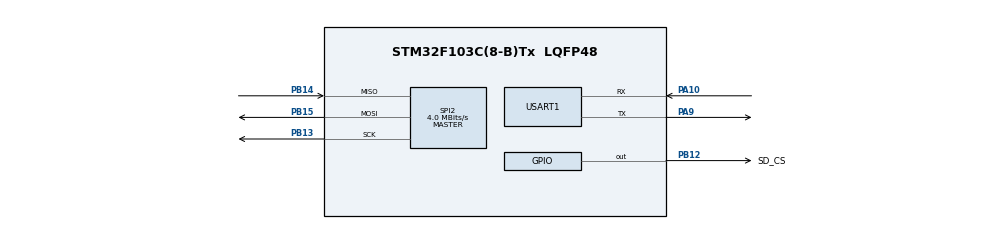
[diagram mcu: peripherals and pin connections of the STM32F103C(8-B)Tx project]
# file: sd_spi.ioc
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Mcu.Family=STM32F1
PC15-OSC32_OUT.Mode=LSE-External-Oscillator
PD1-OSC_OUT.Mode=HSE-External-Oscillator
PA10.Mode=Asynchronous
SPI2.VirtualType=VM_MASTER
PD0-OSC_IN.Signal=RCC_OSC_IN
PC14-OSC32_IN.Signal=RCC_OSC32_IN
PB15.Signal=SPI2_MOSI
PB13.Signal=SPI2_SCK
ProjectManager.StackSize=0x400
PD1-OSC_OUT.Signal=RCC_OSC_OUT
PA13.Signal=SYS_JTMS-SWDIO
PA9.Mode=Asynchronous
ProjectManager.TargetToolchain=STM32CubeIDE
PA9.Signal=USART1_TX
PC15-OSC32_OUT.Signal=RCC_OSC32_OUT
VP_FATFS_VS_Generic.Mode=User_defined
PD0-OSC_IN.Mode=HSE-External-Oscillator
PB14.Signal=SPI2_MISO
board=custom
PB15.Mode=Full_Duplex_Master
PB12.GPIO_Label=SD_CS
RCC.APB2Freq_Value=8000000
PC14-OSC32_IN.Mode=LSE-External-Oscillator
PA14.Mode=Serial_Wire
PB14.Mode=Full_Duplex_Master
SPI2.CalculateBaudRate=4.0 MBits/s
PA13.Mode=Serial_Wire
Mcu.Name=STM32F103C(8-B)Tx
Mcu.Package=LQFP48
SPI2.Mode=SPI_MODE_MASTER
USART1.VirtualMode=VM_ASYNC
PA10.Signal=USART1_RX
PA14.Signal=SYS_JTCK-SWCLK
ProjectManager.HeapSize=0x200
NVIC.PriorityGroup=NVIC_PRIORITYGROUP_4
SPI2.Direction=SPI_DIRECTION_2LINES
PB13.Mode=Full_Duplex_Master
RCC.APB1Freq_Value=8000000
PB12.Signal=GPIO_Output

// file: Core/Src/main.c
/* USER CODE BEGIN Header */
/**
 ******************************************************************************
 * @file           : main.c
 * @brief          : Main program body
 ******************************************************************************
 * @attention
 *
 * <h2><center>&copy; Copyright (c) 2021 STMicroelectronics.
 * All rights reserved.</center></h2>
 *
 * This software component is licensed by ST under BSD 3-Clause license,
 * the "License"; You may not use this file except in compliance with the
 * License. You may obtain a copy of the License at:
 *                        opensource.org/licenses/BSD-3-Clause
 *
 ******************************************************************************
 */
/* USER CODE END Header */
#include "main.h"
#include "fatfs.h"

/* USER CODE BEGIN Includes */
#include "fatfs_sd.h"
#include "stdio.h"
#include "string.h"
/* USER CODE END Includes */

/* USER CODE BEGIN PD */
#define BUF_SIZE 512
/* USER CODE END PD */

SPI_HandleTypeDef hspi2;

UART_HandleTypeDef huart1;

/* USER CODE BEGIN PV */

static uint8_t fatFsCounter = 10;

// Variable para el filesystem
FATFS fs;

// Variable para el archivo
FIL fil1;

// Variable para el resultado de las operaciones
FRESULT fresult;

// Buffer para manejo de texto del archivo
char buffer[BUF_SIZE];

// Número de bytes escritos y leídos.
uint32_t bytesRead, bytesWrite;

// Variables para chequear capacidad

FATFS *pfs;

uint32_t free_space, free_clust;
/* USER CODE END PV */

void SystemClock_Config(void);
static void MX_GPIO_Init(void);
static void MX_SPI2_Init(void);
static void MX_USART1_UART_Init(void);

/* USER CODE BEGIN 0 */
void HAL_IncTick(void)
{
	uwTick += uwTickFreq;
	--fatFsCounter;
	if(fatFsCounter == 0){
		SD_10ms_Tick_Handler();
	}
}

/** @brief Retarget printf() to UART1 */
int __io_putchar(int ch)
{
	HAL_UART_Transmit(&huart1, (uint8_t *)&ch, 1, 10);
	return ch;
}

/* USER CODE END 0 */

int main(void)
{

	/* MCU Configuration--------------------------------------------------------*/

	/* Reset of all peripherals, Initializes the Flash interface and the Systick. */
	HAL_Init();

	/* Configure the system clock */
	SystemClock_Config();

	/* Initialize all configured peripherals */
	MX_GPIO_Init();
	MX_SPI2_Init();
	MX_FATFS_Init();
	MX_USART1_UART_Init();
	/* USER CODE BEGIN 2 */

	/* Montado de SD */
	fresult = f_mount(&fs, "", 0);
	if (fresult != FR_OK){
		/*
		 * Si falla acá, no se pudo montar el filesystem.
		 * Chequear conexión de SD, alimentación, etc.
		 */
	}

	/* Obtener tamaño y espacio disponible en la SD */
	fresult = f_getfree("", &free_clust, &pfs);

	free_space = (uint32_t)(free_clust * pfs->csize * 0.5);
	printf("SD CARD Free Space: \t%lu\n", free_space);

	/* Crear archivo */

	fresult = f_open(&fil1, "testFile.txt", FA_OPEN_ALWAYS | FA_READ | FA_WRITE);

	fresult = f_puts("This is a test data written from stm32!!", &fil1);

	fresult = f_close(&fil1);

	/* Leer el archivo recién creado */

	printf("Reading file: testFile.txt\r\n");

	fresult = f_open(&fil1, "testFile.txt", FA_READ);
	f_gets(buffer, fil1.fsize, &fil1);

	printf("%s\r\n", buffer);

	f_close(&fil1);

	/* Listar los directorios del root de la SD */
	DIR dir;
	FILINFO fno;

	fresult = f_opendir(&dir, "");
	if (!fresult) {
		printf("Directory listing...\r\n");
		for (;; ) {
			/* Read a directory item */
			fresult = f_readdir(&dir, &fno);

			if (fresult || !fno.fname[0]) {
				break;					/* Error or end of dir */
			}

			if (fno.fattrib & AM_DIR) {
				printf("   <dir>  %s\r\n", fno.fname);
			}
			else {
				printf("   %8lu  %s\r\n", fno.fsize, fno.fname);
			}
		}
	}

	/* USER CODE END 2 */

	/* Infinite loop */
	while (1)
	{

		/* USER CODE BEGIN 3 */
		__WFI();
	}
	/* USER CODE END 3 */
}

void SystemClock_Config(void)
{
	RCC_OscInitTypeDef RCC_OscInitStruct = {0};
	RCC_ClkInitTypeDef RCC_ClkInitStruct = {0};

	/** Initializes the RCC Oscillators according to the specified parameters
	 * in the RCC_OscInitTypeDef structure.
	 */
	RCC_OscInitStruct.OscillatorType = RCC_OSCILLATORTYPE_HSI;
	RCC_OscInitStruct.HSIState = RCC_HSI_ON;
	RCC_OscInitStruct.HSICalibrationValue = RCC_HSICALIBRATION_DEFAULT;
	RCC_OscInitStruct.PLL.PLLState = RCC_PLL_NONE;
	if (HAL_RCC_OscConfig(&RCC_OscInitStruct) != HAL_OK)
	{
		Error_Handler();
	}
	/** Initializes the CPU, AHB and APB buses clocks
	 */
	RCC_ClkInitStruct.ClockType = RCC_CLOCKTYPE_HCLK|RCC_CLOCKTYPE_SYSCLK
			|RCC_CLOCKTYPE_PCLK1|RCC_CLOCKTYPE_PCLK2;
	RCC_ClkInitStruct.SYSCLKSource = RCC_SYSCLKSOURCE_HSI;
	RCC_ClkInitStruct.AHBCLKDivider = RCC_SYSCLK_DIV1;
	RCC_ClkInitStruct.APB1CLKDivider = RCC_HCLK_DIV1;
	RCC_ClkInitStruct.APB2CLKDivider = RCC_HCLK_DIV1;

	if (HAL_RCC_ClockConfig(&RCC_ClkInitStruct, FLASH_LATENCY_0) != HAL_OK)
	{
		Error_Handler();
	}
}

static void MX_SPI2_Init(void)
{

	/* SPI2 parameter configuration*/
	hspi2.Instance = SPI2;
	hspi2.Init.Mode = SPI_MODE_MASTER;
	hspi2.Init.Direction = SPI_DIRECTION_2LINES;
	hspi2.Init.DataSize = SPI_DATASIZE_8BIT;
	hspi2.Init.CLKPolarity = SPI_POLARITY_LOW;
	hspi2.Init.CLKPhase = SPI_PHASE_1EDGE;
	hspi2.Init.NSS = SPI_NSS_SOFT;
	hspi2.Init.BaudRatePrescaler = SPI_BAUDRATEPRESCALER_2;
	hspi2.Init.FirstBit = SPI_FIRSTBIT_MSB;
	hspi2.Init.TIMode = SPI_TIMODE_DISABLE;
	hspi2.Init.CRCCalculation = SPI_CRCCALCULATION_DISABLE;
	hspi2.Init.CRCPolynomial = 10;
	if (HAL_SPI_Init(&hspi2) != HAL_OK)
	{
		Error_Handler();
	}

}

static void MX_USART1_UART_Init(void)
{

	huart1.Instance = USART1;
	huart1.Init.BaudRate = 115200;
	huart1.Init.WordLength = UART_WORDLENGTH_8B;
	huart1.Init.StopBits = UART_STOPBITS_1;
	huart1.Init.Parity = UART_PARITY_NONE;
	huart1.Init.Mode = UART_MODE_TX_RX;
	huart1.Init.HwFlowCtl = UART_HWCONTROL_NONE;
	huart1.Init.OverSampling = UART_OVERSAMPLING_16;
	if (HAL_UART_Init(&huart1) != HAL_OK)
	{
		Error_Handler();
	}

}

static void MX_GPIO_Init(void)
{
	GPIO_InitTypeDef GPIO_InitStruct = {0};

	/* GPIO Ports Clock Enable */
	__HAL_RCC_GPIOC_CLK_ENABLE();
	__HAL_RCC_GPIOD_CLK_ENABLE();
	__HAL_RCC_GPIOB_CLK_ENABLE();
	__HAL_RCC_GPIOA_CLK_ENABLE();

	/*Configure GPIO pin Output Level */
	HAL_GPIO_WritePin(SD_CS_GPIO_Port, SD_CS_Pin, GPIO_PIN_RESET);

	/*Configure GPIO pin : SD_CS_Pin */
	GPIO_InitStruct.Pin = SD_CS_Pin;
	GPIO_InitStruct.Mode = GPIO_MODE_OUTPUT_PP;
	GPIO_InitStruct.Pull = GPIO_NOPULL;
	GPIO_InitStruct.Speed = GPIO_SPEED_FREQ_LOW;
	HAL_GPIO_Init(SD_CS_GPIO_Port, &GPIO_InitStruct);

}

void Error_Handler(void)
{
	__disable_irq();
	while (1)
	{
	}
}

/************************ (C) COPYRIGHT STMicroelectronics *****END OF FILE****/
